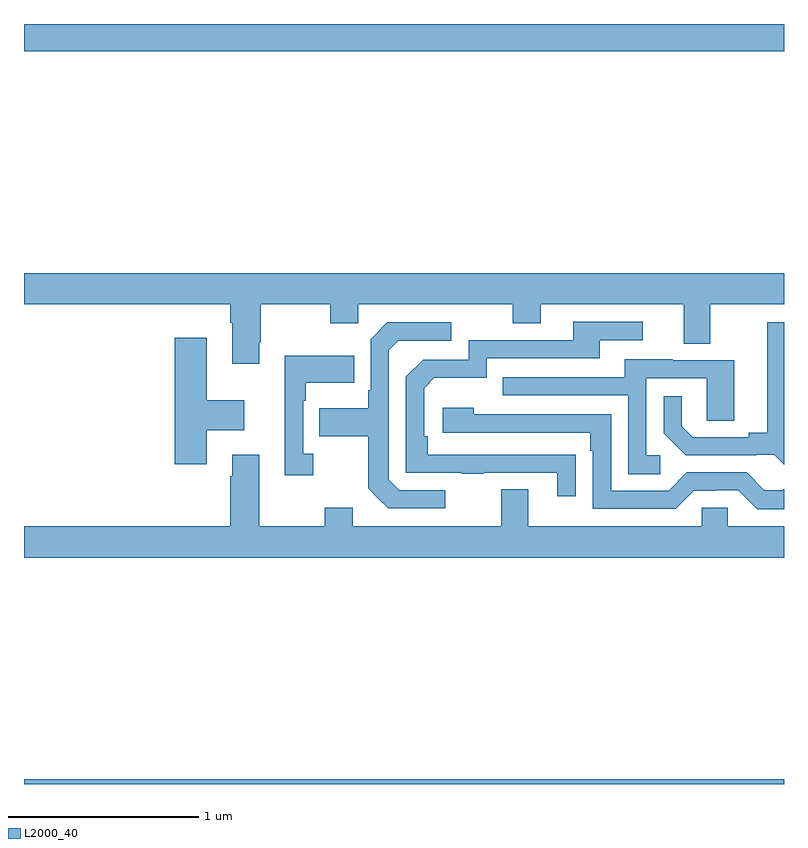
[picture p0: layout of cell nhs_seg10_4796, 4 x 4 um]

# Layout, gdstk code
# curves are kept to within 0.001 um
import gdstk
lib = gdstk.Library(unit=1e-6, precision=1e-09)
def R(c, l, rs):  # rectangles x0, y0, x1, y1
    for r in rs: c.add(gdstk.rectangle(r[:2], r[2:], *l))
def P(c, l, *ps):  # polygons
    for p in ps: c.add(gdstk.Polygon(p, *l))
L2000_40 = (2000, 40)

nhs_seg10_4796 = lib.new_cell('nhs_seg10_4796')
R(nhs_seg10_4796, L2000_40, [(387,1256.5,391,1256.524), (387,1260.356,391,1260.5)])
P(nhs_seg10_4796, L2000_40, [(388.237,1258.825),(388.245,1258.825),(388.245,1259.024),(388.612,1259.024),(388.612,1258.925),(388.758,1258.925),(388.758,1259.024),(389.572,1259.024),(389.572,1258.925),(389.719,1258.925),(389.719,1259.024),(390.473,1259.024),(390.473,1258.816),(390.613,1258.816),(390.613,1259.024),(391,1259.024),(391,1259.188),(387,1259.188),(387,1259.024),(388.085,1259.024),(388.085,1258.928),(388.097,1258.928),(388.097,1258.713),(388.237,1258.713)],
  [(389.903,1258.232),(389.126,1258.233),(389.126,1258.33),(389.106,1258.33),(389.106,1258.584),(389.159,1258.637),(389.436,1258.637),(389.436,1258.74),(390.031,1258.74),(390.031,1258.836),(390.256,1258.836),(390.256,1258.932),(389.891,1258.932),(389.891,1258.836),(389.34,1258.836),(389.34,1258.734),(389.1,1258.734),(389.01,1258.644),(389.01,1258.137),(389.305,1258.137),(389.305,1258.132),(389.417,1258.132),(389.417,1258.137),(389.807,1258.137),(389.807,1258.014),(389.903,1258.014)],
  [(389.218,1258.047),(388.974,1258.047),(388.92,1258.101),(388.92,1258.782),(388.971,1258.833),(389.248,1258.833),(389.248,1258.929),(388.911,1258.929),(388.824,1258.842),(388.824,1258.573),(388.812,1258.573),(388.812,1258.477),(388.555,1258.477),(388.555,1258.33),(388.812,1258.33),(388.812,1258.057),(388.917,1257.951),(389.218,1257.951)],
  [(391,1258.929),(390.911,1258.929),(390.911,1258.349),(390.815,1258.349),(390.815,1258.326),(390.52,1258.326),(390.463,1258.383),(390.463,1258.54),(390.366,1258.54),(390.366,1258.346),(390.482,1258.23),(390.854,1258.23),(390.854,1258.233),(390.948,1258.233),(391,1258.181)],
  [(387.961,1258.361),(388.159,1258.361),(388.159,1258.519),(387.961,1258.519),(387.961,1258.849),(387.794,1258.849),(387.794,1258.182),(387.961,1258.182)],
  [(388.522,1258.238),(388.47,1258.238),(388.47,1258.517),(388.483,1258.517),(388.483,1258.613),(388.739,1258.613),(388.739,1258.753),(388.373,1258.753),(388.373,1258.125),(388.522,1258.125)],
  [(390.349,1258.23),(390.276,1258.23),(390.276,1258.635),(390.594,1258.635),(390.594,1258.411),(390.739,1258.411),(390.739,1258.731),(390.415,1258.731),(390.415,1258.735),(390.161,1258.735),(390.161,1258.641),(389.521,1258.641),(389.521,1258.545),(390.18,1258.545),(390.18,1258.129),(390.349,1258.129)],
  [(391,1258.051),(390.997,1258.051),(390.997,1258.047),(390.897,1258.047),(390.804,1258.14),(390.489,1258.14),(390.393,1258.044),(390.09,1258.044),(390.09,1258.446),(389.366,1258.446),(389.366,1258.48),(389.205,1258.48),(389.205,1258.35),(389.981,1258.35),(389.981,1258.253),(389.994,1258.253),(389.994,1257.948),(390.429,1257.948),(390.525,1258.044),(390.644,1258.044),(390.644,1258.047),(390.759,1258.047),(390.859,1257.947),(391,1257.947)],
  [(391,1257.856),(390.705,1257.856),(390.705,1257.954),(390.567,1257.954),(390.567,1257.856),(389.653,1257.856),(389.653,1258.051),(389.513,1258.051),(389.513,1257.856),(388.729,1257.856),(388.729,1257.955),(388.582,1257.955),(388.582,1257.856),(388.237,1257.856),(388.237,1258.234),(388.097,1258.234),(388.097,1258.121),(388.085,1258.121),(388.085,1257.856),(387,1257.856),(387,1257.692),(391,1257.692)])

lib.write_gds('nhs_seg10_4796.gds')
